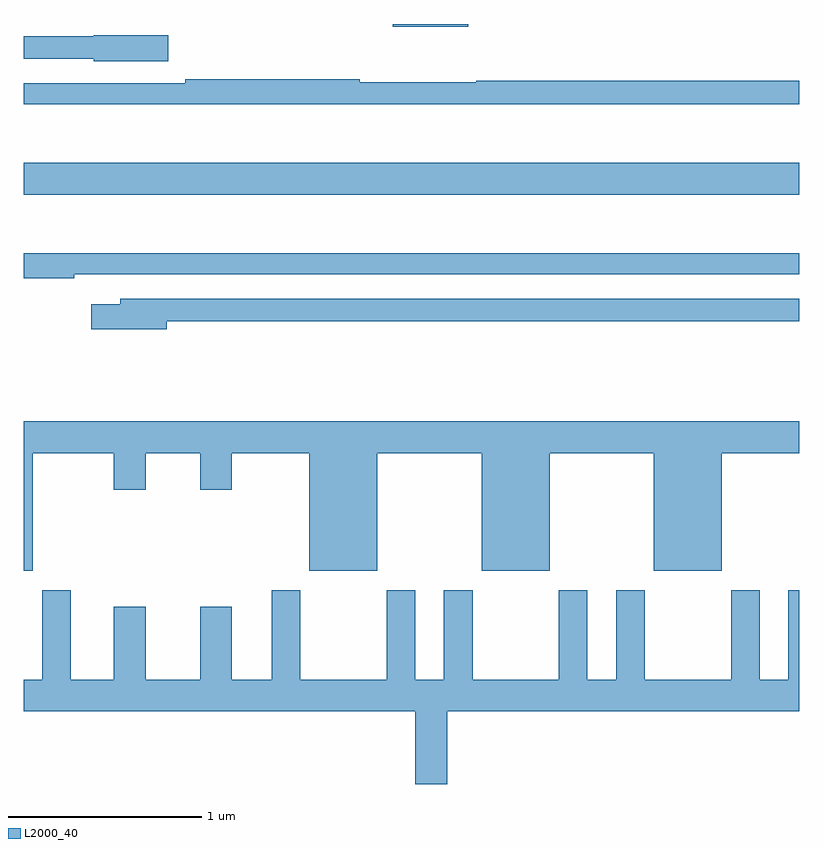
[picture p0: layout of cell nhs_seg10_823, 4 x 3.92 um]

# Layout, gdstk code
import gdstk
lib = gdstk.Library(unit=1e-6, precision=1e-09)
def R(c, l, rs):  # rectangles x0, y0, x1, y1
    for r in rs: c.add(gdstk.rectangle(r[:2], r[2:], *l))
def P(c, l, *ps):  # polygons
    for p in ps: c.add(gdstk.Polygon(p, *l))
L2000_40 = (2000, 40)

nhs_seg10_823 = lib.new_cell('nhs_seg10_823')
R(nhs_seg10_823, L2000_40, [(151,1329.62,155,1329.784), (152.904,1330.487,153.292,1330.5)])
P(nhs_seg10_823, L2000_40, [(151.747,1330.442),(151.362,1330.442),(151.362,1330.436),(151,1330.436),(151,1330.32),(151.362,1330.32),(151.362,1330.307),(151.747,1330.307)],
  [(155,1330.207),(153.334,1330.207),(153.334,1330.199),(152.734,1330.199),(152.734,1330.214),(151.834,1330.214),(151.834,1330.194),(151,1330.194),(151,1330.086),(155,1330.086)],
  [(151.262,1329.21),(155,1329.21),(155,1329.319),(151,1329.319),(151,1329.19),(151.262,1329.19)],
  [(151.738,1328.968),(155,1328.968),(155,1329.084),(151.499,1329.084),(151.499,1329.055),(151.35,1329.055),(151.35,1328.926),(151.738,1328.926)],
  [(151.048,1328.288),(151.466,1328.288),(151.466,1328.1),(151.63,1328.1),(151.63,1328.288),(151.91,1328.288),(151.91,1328.1),(152.074,1328.1),(152.074,1328.288),(152.474,1328.288),(152.474,1327.682),(152.824,1327.682),(152.824,1328.288),(153.362,1328.288),(153.362,1327.682),(153.712,1327.682),(153.712,1328.288),(154.25,1328.288),(154.25,1327.682),(154.6,1327.682),(154.6,1328.288),(155,1328.288),(155,1328.452),(151,1328.452),(151,1327.682),(151.048,1327.682)],
  [(153.184,1326.956),(155,1326.956),(155,1327.582),(154.943,1327.582),(154.943,1327.12),(154.795,1327.12),(154.795,1327.582),(154.648,1327.582),(154.648,1327.12),(154.203,1327.12),(154.203,1327.582),(154.055,1327.582),(154.055,1327.12),(153.907,1327.12),(153.907,1327.582),(153.76,1327.582),(153.76,1327.12),(153.315,1327.12),(153.315,1327.582),(153.167,1327.582),(153.167,1327.12),(153.019,1327.12),(153.019,1327.582),(152.872,1327.582),(152.872,1327.12),(152.427,1327.12),(152.427,1327.582),(152.279,1327.582),(152.279,1327.12),(152.074,1327.12),(152.074,1327.495),(151.91,1327.495),(151.91,1327.12),(151.63,1327.12),(151.63,1327.495),(151.466,1327.495),(151.466,1327.12),(151.243,1327.12),(151.243,1327.582),(151.096,1327.582),(151.096,1327.12),(151,1327.12),(151,1326.956),(153.02,1326.956),(153.02,1326.582),(153.184,1326.582)])

lib.write_gds('nhs_seg10_823.gds')
